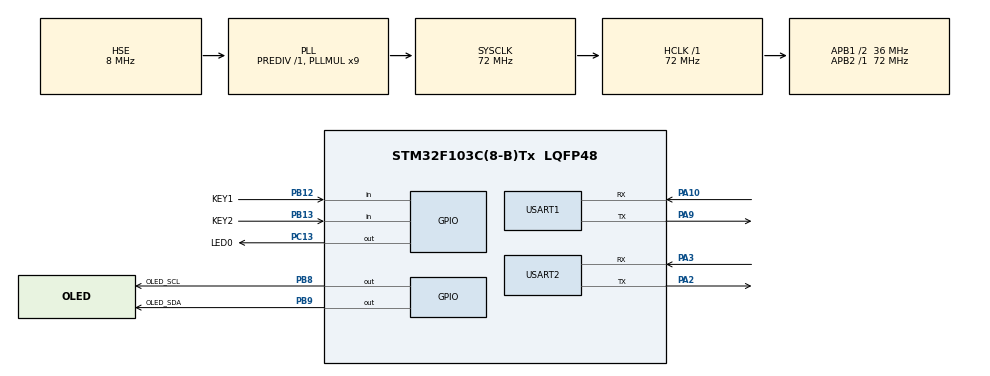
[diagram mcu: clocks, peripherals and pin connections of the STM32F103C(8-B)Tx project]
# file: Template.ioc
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Dma.Request0=USART1_RX
Dma.Request1=USART1_TX
Dma.USART1_RX.0.Direction=DMA_PERIPH_TO_MEMORY
Dma.USART1_RX.0.Instance=DMA1_Channel5
Dma.USART1_RX.0.MemDataAlignment=DMA_MDATAALIGN_BYTE
Dma.USART1_RX.0.MemInc=DMA_MINC_ENABLE
Dma.USART1_RX.0.Mode=DMA_NORMAL
Dma.USART1_RX.0.PeriphDataAlignment=DMA_PDATAALIGN_BYTE
Dma.USART1_RX.0.PeriphInc=DMA_PINC_DISABLE
Dma.USART1_RX.0.Priority=DMA_PRIORITY_LOW
Dma.USART1_TX.1.Direction=DMA_MEMORY_TO_PERIPH
Dma.USART1_TX.1.Instance=DMA1_Channel4
Dma.USART1_TX.1.MemDataAlignment=DMA_MDATAALIGN_BYTE
Dma.USART1_TX.1.MemInc=DMA_MINC_ENABLE
Dma.USART1_TX.1.Mode=DMA_NORMAL
Dma.USART1_TX.1.PeriphDataAlignment=DMA_PDATAALIGN_BYTE
Dma.USART1_TX.1.PeriphInc=DMA_PINC_DISABLE
Dma.USART1_TX.1.Priority=DMA_PRIORITY_LOW
Mcu.Family=STM32F1
Mcu.Name=STM32F103C(8-B)Tx
Mcu.Package=LQFP48
NVIC.DMA1_Channel4_IRQn=true\:0\:0\:false\:false\:true\:false\:true\:true
NVIC.DMA1_Channel5_IRQn=true\:0\:0\:false\:false\:true\:false\:true\:true
NVIC.PriorityGroup=NVIC_PRIORITYGROUP_2
NVIC.USART1_IRQn=true\:0\:0\:false\:false\:true\:true\:true\:true
PA10.Mode=Asynchronous
PA10.Signal=USART1_RX
PA13.Mode=Serial_Wire
PA13.Signal=SYS_JTMS-SWDIO
PA14.Mode=Serial_Wire
PA14.Signal=SYS_JTCK-SWCLK
PA2.Mode=Asynchronous
PA2.Signal=USART2_TX
PA3.Mode=Asynchronous
PA3.Signal=USART2_RX
PA9.Mode=Asynchronous
PA9.Signal=USART1_TX
PB12.GPIO_Label=KEY1
PB12.GPIO_PuPd=GPIO_PULLUP
PB12.Signal=GPIO_Input
PB13.GPIO_Label=KEY2
PB13.GPIO_PuPd=GPIO_PULLUP
PB13.Signal=GPIO_Input
PB8.GPIO_Label=OLED_SCL
PB8.GPIO_Speed=GPIO_SPEED_FREQ_HIGH
PB8.Signal=GPIO_Output
PB9.GPIO_Label=OLED_SDA
PB9.GPIO_Speed=GPIO_SPEED_FREQ_HIGH
PB9.PinState=GPIO_PIN_RESET
PB9.Signal=GPIO_Output
PC13-TAMPER-RTC.GPIO_Label=LED0
PC13-TAMPER-RTC.Signal=GPIO_Output
PC14-OSC32_IN.Mode=LSE-External-Oscillator
PC14-OSC32_IN.Signal=RCC_OSC32_IN
PC15-OSC32_OUT.Mode=LSE-External-Oscillator
PC15-OSC32_OUT.Signal=RCC_OSC32_OUT
PD0-OSC_IN.Mode=HSE-External-Oscillator
PD0-OSC_IN.Signal=RCC_OSC_IN
PD1-OSC_OUT.Mode=HSE-External-Oscillator
PD1-OSC_OUT.Signal=RCC_OSC_OUT
ProjectManager.HeapSize=0x200
ProjectManager.StackSize=0x400
ProjectManager.TargetToolchain=MDK-ARM V5.32
RCC.AHBFreq_Value=72000000
RCC.APB1CLKDivider=RCC_HCLK_DIV2
RCC.APB1Freq_Value=36000000
RCC.APB1TimFreq_Value=72000000
RCC.APB2Freq_Value=72000000
RCC.APB2TimFreq_Value=72000000
RCC.HCLKFreq_Value=72000000
RCC.PLLMUL=RCC_PLL_MUL9
RCC.PLLSourceVirtual=RCC_PLLSOURCE_HSE
RCC.SYSCLKFreq_VALUE=72000000
RCC.SYSCLKSource=RCC_SYSCLKSOURCE_PLLCLK
RCC.USBFreq_Value=72000000
USART1.VirtualMode=VM_ASYNC
USART2.VirtualMode=VM_ASYNC
board=custom

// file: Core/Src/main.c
/* USER CODE BEGIN Header */
/**
  ******************************************************************************
  * @file           : main.c
  * @brief          : Main program body
  ******************************************************************************
  * @attention
  *
  * Copyright (c) 2025 STMicroelectronics.
  * All rights reserved.
  *
  * This software is licensed under terms that can be found in the LICENSE file
  * in the root directory of this software component.
  * If no LICENSE file comes with this software, it is provided AS-IS.
  *
  ******************************************************************************
  */
/* USER CODE END Header */
#include "main.h"
#include "dma.h"
#include "usart.h"
#include "gpio.h"

void SystemClock_Config(void);

/* USER CODE BEGIN 0 */
// *******************库/函数导入*******************
// 系统库
#include <stdlib.h>
#include "string.h"
#include <stdio.h>
// 自设库
#include "OLED.h"
#include "Key.h"
// *******************全局变量*******************
// DMA串口接收变量
#define RX_USART1_LEN 50
uint8_t RX_USART1[RX_USART1_LEN] ;	// 接收数组
uint8_t RX_USART1_COPY[RX_USART1_LEN] ; // Copy数组

// *******************实验区域*******************
int check1 ;
int check2 ;
int check[50] ;

/* USER CODE END 0 */

int main(void)
{

  /* MCU Configuration--------------------------------------------------------*/

  /* Reset of all peripherals, Initializes the Flash interface and the Systick. */
  HAL_Init();

  /* Configure the system clock */
  SystemClock_Config();

  /* Initialize all configured peripherals */
  MX_GPIO_Init();
  MX_DMA_Init();
  MX_USART1_UART_Init();
  MX_USART2_UART_Init();
  /* USER CODE BEGIN 2 */

	// ******************* setup *******************
	// 启动Systick时钟
	HAL_SYSTICK_Config(SystemCoreClock / 1000);
	// 初始化OLED
	OLED_Init() ;
	OLED_ShowString(0 , 0 , "Hello World" , OLED_8X16 ) ;
	// 开启DMA+接收空闲中断,接收的数据都存储在RX_USART1
	HAL_UARTEx_ReceiveToIdle_DMA(&huart1 , RX_USART1 , RX_USART1_LEN ) ;

	// ******************* 实验区域 *******************

  /* USER CODE END 2 */

  /* Infinite loop */
  while (1)
  {

    /* USER CODE BEGIN 3 */
		// ******************* while *******************
		// 测试按键功能
		if (Key_Check(KEY_1 , KEY_SINGLE))
		{
			HAL_GPIO_TogglePin(LED0_GPIO_Port , LED0_Pin) ;

			Set_Current_USART(USART1_IDX); /* 想要指定不同串口必须在printf前加上此函数 */
			printf("Serial=1\n");
		}
		else if (Key_Check(KEY_2 , KEY_SINGLE))
		{
			Set_Current_USART(USART2_IDX); /* 想要指定不同串口必须在printf前加上此函数 */
			printf("Serial=2\n");
		}

		// ******************* 实验区域 *******************

		// 必须存在:OLED更新
		OLED_Update() ;
  }
  /* USER CODE END 3 */
}

void SystemClock_Config(void)
{
  RCC_OscInitTypeDef RCC_OscInitStruct = {0};
  RCC_ClkInitTypeDef RCC_ClkInitStruct = {0};

  /** Initializes the RCC Oscillators according to the specified parameters
  * in the RCC_OscInitTypeDef structure.
  */
  RCC_OscInitStruct.OscillatorType = RCC_OSCILLATORTYPE_HSE;
  RCC_OscInitStruct.HSEState = RCC_HSE_ON;
  RCC_OscInitStruct.HSEPredivValue = RCC_HSE_PREDIV_DIV1;
  RCC_OscInitStruct.HSIState = RCC_HSI_ON;
  RCC_OscInitStruct.PLL.PLLState = RCC_PLL_ON;
  RCC_OscInitStruct.PLL.PLLSource = RCC_PLLSOURCE_HSE;
  RCC_OscInitStruct.PLL.PLLMUL = RCC_PLL_MUL9;
  if (HAL_RCC_OscConfig(&RCC_OscInitStruct) != HAL_OK)
  {
    Error_Handler();
  }

  /** Initializes the CPU, AHB and APB buses clocks
  */
  RCC_ClkInitStruct.ClockType = RCC_CLOCKTYPE_HCLK|RCC_CLOCKTYPE_SYSCLK
                              |RCC_CLOCKTYPE_PCLK1|RCC_CLOCKTYPE_PCLK2;
  RCC_ClkInitStruct.SYSCLKSource = RCC_SYSCLKSOURCE_PLLCLK;
  RCC_ClkInitStruct.AHBCLKDivider = RCC_SYSCLK_DIV1;
  RCC_ClkInitStruct.APB1CLKDivider = RCC_HCLK_DIV2;
  RCC_ClkInitStruct.APB2CLKDivider = RCC_HCLK_DIV1;

  if (HAL_RCC_ClockConfig(&RCC_ClkInitStruct, FLASH_LATENCY_2) != HAL_OK)
  {
    Error_Handler();
  }
}

/* USER CODE BEGIN 4 */
// Systick定时中断
void HAL_SYSTICK_Callback(void)
{
	// 计时
	static int count_sys = 0 ;
	count_sys ++ ;
	// 功能1:
	if (count_sys % 1000 == 0)
	{
//		HAL_GPIO_TogglePin(LED0_GPIO_Port , LED0_Pin ) ;
	}
	// 功能2: 按键
	Key_Tick() ;
}

// 串口空闲中断回调函数
void HAL_UARTEx_RxEventCallback(UART_HandleTypeDef *huart, uint16_t Size)
{
	if (huart->Instance == USART1)
	{
		// 加上\0防止越界
		if (Size < RX_USART1_LEN)
		{
			RX_USART1[Size] = '\0';
		}

		// 清理缓冲区剩余数据，防止旧数据残留
    memset(RX_USART1 + Size, 0, RX_USART1_LEN - Size);

		// 复制到备份数组
		memcpy(RX_USART1_COPY, RX_USART1, RX_USART1_LEN);

		// 发送回显
		HAL_UART_Transmit_DMA(&huart1, (uint8_t *)RX_USART1, Size);

		// 每次处理完需要重新开启DMA中断
		HAL_UARTEx_ReceiveToIdle_DMA(&huart1 , RX_USART1 , RX_USART1_LEN ) ;
	}
}
/* USER CODE END 4 */

void Error_Handler(void)
{
  __disable_irq();
  while (1)
  {
  }
}
